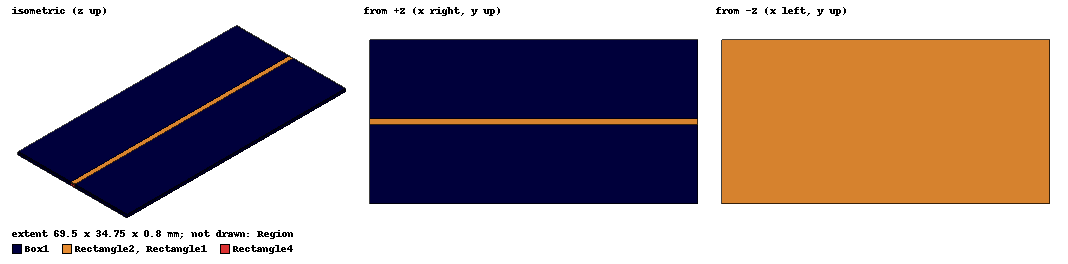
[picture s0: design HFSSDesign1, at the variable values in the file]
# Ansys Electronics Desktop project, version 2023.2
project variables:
  $length = 69.5mm
  $width = 1.3mm
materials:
  vacuum: permittivity=1
  air: permittivity=1.0006 permeability=1.0000004
  FR4_epoxy: permittivity=4.4 dielectric_loss_tangent=0.02

design HFSSDesign1 (HFSS, HFSS Terminal Network, model units mm)
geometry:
  Rectangle1 = rectangle(corner=(-$length/2, -$width/2, 0mm), x_size=$length, y_size=$width)
  Box1 [FR4_epoxy] = box(corner=(-$length/2, -$length/4, 0mm), size=($length, $length/2, -0.8mm))
  Rectangle2 = rectangle(corner=(-$length/2, -$length/4, -0.8mm), x_size=$length, y_size=$length/2)
  Rectangle3 = rectangle(corner=(-$length/2, -$width/2, 0mm), y_size=$width, z_size=-0.8mm)
  Rectangle4 = rectangle(corner=($length/2, $width/2, 0mm), y_size=-$width, z_size=-0.8mm)
  Region [air] = region(absolute_offset=$length/4 on all sides)
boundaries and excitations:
  PerfE1: Perfect E Objects=[Rectangle1, Rectangle2]
  Rad1: Radiation Objects=Region
  1: Lumped Port Objects=Rectangle3 LumpedPortType=Modal Modes{Mode1{IntLine{(-34.75, 0, -0.8) -> (-34.75, 0, 0)} CharImp=Zpi RenormImp=50ohm}} Impedance=50ohm
  2: Lumped Port Objects=Rectangle4 LumpedPortType=Modal Modes{Mode1{IntLine{(34.75, 0, -0.8) -> (34.75, 0, 0)} CharImp=Zpi RenormImp=50ohm}} Impedance=50ohm
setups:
  Setup1: HfssDriven Frequency=868MHz MaxDeltaS=0.02 MaximumPasses=20 MinimumPasses=1 MinimumConvergedPasses=1 PercentRefinement=30 BasisOrder=1 PortAccuracy=2 DrivenSolverType="Direct Solver"
    sweep Sweep: 250MHz to 2000MHz, 401 points; Type=Fast SaveFields
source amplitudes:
  1:1: 1V 0deg
  2:1: 0V 0deg
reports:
  Terminal S Parameter Plot 1: dB(St(1,1)), dB(St(2,1)), dB(St(1,2)), dB(St(2,2)) vs Freq on Setup1 : Sweep; markers MX1 at x=8.6816526e+08
  Terminal VSWR Plot 1: VSWRt(1), VSWRt(2) vs Freq on Setup1 : Sweep; markers MX1 at x=8.68e+08
  Terminal Z Parameter Plot 1: re(Zt(1,1)), mag(Zt(1,1)), im(Zt(1,1)) vs Freq on Setup1 : Sweep; markers MX1 at x=8.7600341e+08
